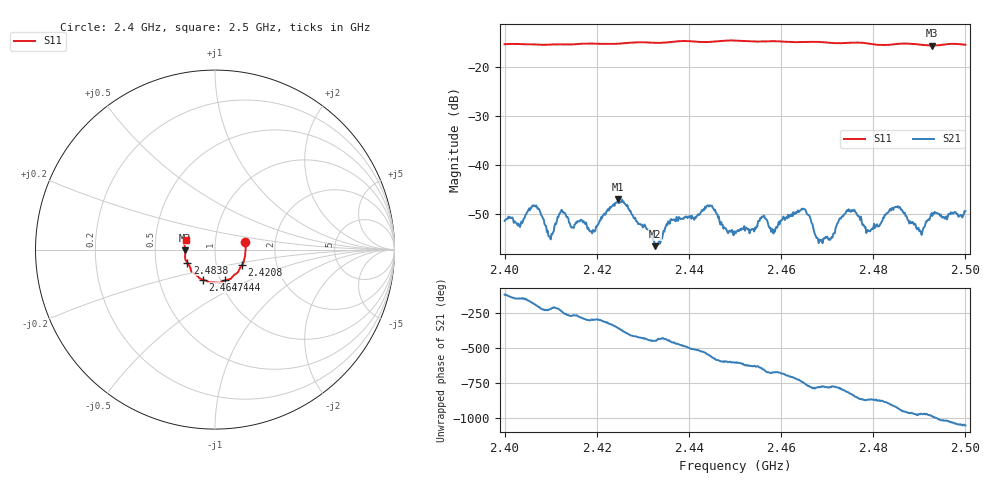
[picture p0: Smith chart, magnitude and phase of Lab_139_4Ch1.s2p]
# Hz S RI R 50
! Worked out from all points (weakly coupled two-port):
!   601 points, 2.4 GHz to 2.5 GHz, reference 50 ohm
!   highest |S21| = -47.03 dB at 2.4247 GHz (marker M1); lowest = -56.6 dB at 2.4327 GHz (marker M2)
!   lowest |S11| = -15.6 dB at 2.4928 GHz (marker M3), VSWR 1.40, Z = 35.7 - j0.318 ohm
!   |S11| at or under -10 dB: start of sweep to end of sweep
!   S12 and S22 are empty: the file has one direction only
!   S11 on the Smith chart (normalised r, x): 2.4 GHz: 1.39, +0.12; 2.4208 GHz: 1.33, -0.24; 2.444 GHz: 1.05, -0.37; 2.4647 GHz: 0.83, -0.29; 2.4838 GHz: 0.73, -0.11; 2.5 GHz: 0.72, +0.08
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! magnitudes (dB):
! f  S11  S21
! 2.4 GHz  -15.3  -51.4
! 2.4065 GHz  -15.3  -48.4
! 2.41 GHz  -15.4  -55.2
! 2.4123 GHz  -15.3  -49.2
! 2.4167 GHz  -15.2  -51.3
! 2.4208 GHz  -15.2  -51.3
! 2.4247 GHz  -15.2  -47.0
! 2.4327 GHz  -15.0  -56.6
! 2.4333 GHz  -15.0  -56.3
! 2.436 GHz  -14.9  -51.2
! 2.444 GHz  -14.9  -48.3
! 2.45 GHz  -14.6  -53.6
! 2.4647 GHz  -14.9  -49.1
! 2.4667 GHz  -14.8  -52.0
! 2.4687 GHz  -14.9  -55.3
! 2.4745 GHz  -15.0  -49.4
! 2.479 GHz  -15.2  -53.4
! 2.4833 GHz  -15.4  -49.6
! 2.4838 GHz  -15.4  -49.3
! 2.4902 GHz  -15.4  -53.4
! 2.4928 GHz  -15.6  -50.4
! 2.5 GHz  -15.4  -49.5
